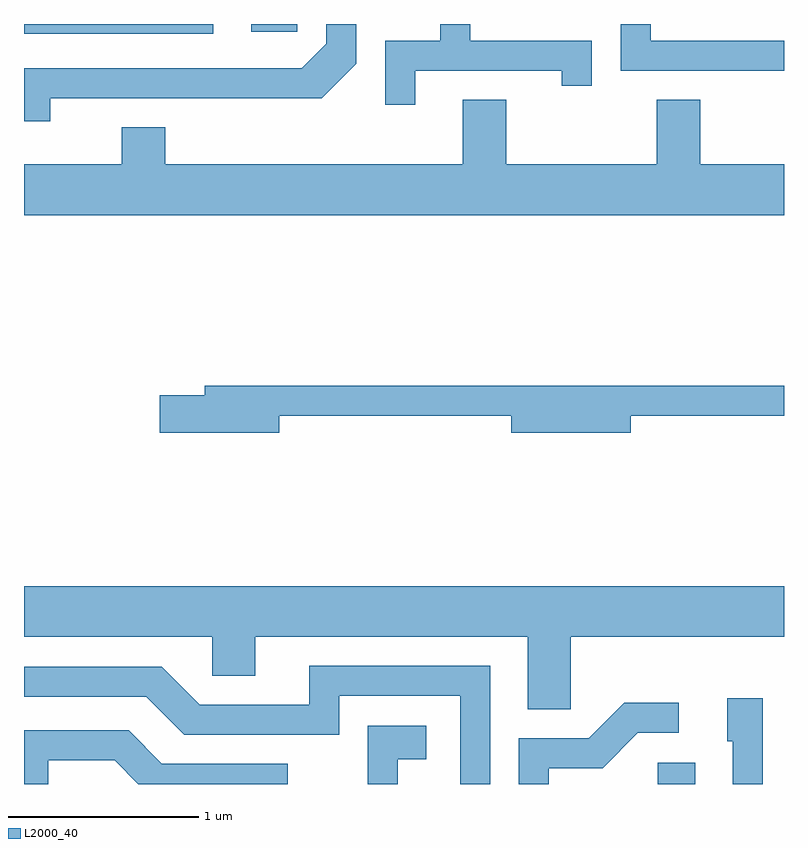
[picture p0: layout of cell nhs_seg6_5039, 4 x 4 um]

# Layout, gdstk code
import gdstk
lib = gdstk.Library(unit=1e-6, precision=1e-09)
def R(c, l, rs):  # rectangles x0, y0, x1, y1
    for r in rs: c.add(gdstk.rectangle(r[:2], r[2:], *l))
def P(c, l, *ps):  # polygons
    for p in ps: c.add(gdstk.Polygon(p, *l))
L2000_40 = (2000, 40)

nhs_seg6_5039 = lib.new_cell('nhs_seg6_5039')
R(nhs_seg6_5039, L2000_40, [(342.946,1538.162,343.144,1538.274), (339.611,1542.111,340.608,1542.162), (340.808,1542.121,341.049,1542.162)])
P(nhs_seg6_5039, L2000_40, [(343.611,1542.074),(342.909,1542.074),(342.909,1542.162),(342.751,1542.162),(342.751,1541.916),(343.611,1541.916)],
  [(339.749,1541.771),(341.177,1541.771),(341.359,1541.954),(341.359,1542.162),(341.201,1542.162),(341.201,1542.057),(341.074,1541.929),(339.611,1541.929),(339.611,1541.651),(339.749,1541.651)],
  [(341.669,1541.916),(342.441,1541.916),(342.441,1541.838),(342.599,1541.838),(342.599,1542.074),(341.959,1542.074),(341.959,1542.162),(341.801,1542.162),(341.801,1542.074),(341.511,1542.074),(341.511,1541.738),(341.669,1541.738)],
  [(343.611,1541.424),(343.169,1541.424),(343.169,1541.764),(342.941,1541.764),(342.941,1541.424),(342.149,1541.424),(342.149,1541.764),(341.921,1541.764),(341.921,1541.424),(340.354,1541.424),(340.354,1541.619),(340.126,1541.619),(340.126,1541.424),(339.611,1541.424),(339.611,1541.156),(343.611,1541.156)],
  [(340.954,1540.101),(342.176,1540.101),(342.176,1540.011),(342.804,1540.011),(342.804,1540.101),(343.611,1540.101),(343.611,1540.259),(340.561,1540.259),(340.561,1540.209),(340.326,1540.209),(340.326,1540.011),(340.954,1540.011)],
  [(342.489,1538.936),(343.611,1538.936),(343.611,1539.204),(339.611,1539.204),(339.611,1538.936),(340.601,1538.936),(340.601,1538.731),(340.829,1538.731),(340.829,1538.936),(342.261,1538.936),(342.261,1538.556),(342.489,1538.556)],
  [(342.064,1538.784),(341.111,1538.784),(341.111,1538.579),(340.537,1538.579),(340.337,1538.779),(339.611,1538.779),(339.611,1538.621),(340.254,1538.621),(340.454,1538.421),(341.269,1538.421),(341.269,1538.626),(341.906,1538.626),(341.906,1538.162),(342.064,1538.162)],
  [(343.499,1538.614),(343.311,1538.614),(343.311,1538.386),(343.341,1538.386),(343.341,1538.162),(343.499,1538.162)],
  [(342.374,1538.246),(342.657,1538.246),(342.842,1538.431),(343.058,1538.431),(343.058,1538.589),(342.769,1538.589),(342.584,1538.404),(342.216,1538.404),(342.216,1538.162),(342.374,1538.162)],
  [(341.579,1538.291),(341.729,1538.291),(341.729,1538.469),(341.421,1538.469),(341.421,1538.162),(341.579,1538.162)],
  [(339.739,1538.286),(340.089,1538.286),(340.213,1538.162),(340.999,1538.162),(340.999,1538.269),(340.337,1538.269),(340.162,1538.444),(339.611,1538.444),(339.611,1538.162),(339.739,1538.162)])

lib.write_gds('nhs_seg6_5039.gds')
